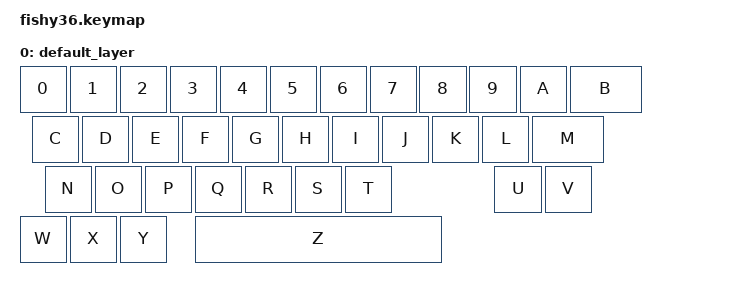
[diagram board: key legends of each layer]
// TEMPORARY DEBUG KEYMAP — NOT for daily use.
// Each of the 36 positions types a unique character (0-9, then A-Z)
// so you can identify exactly which logical position fires per physical key.
// Position -> char: 0=0,1=1,...,9=9,10=A,11=B,...,35=Z (base36 order)
#include <behaviors.dtsi>
#include <dt-bindings/zmk/keys.h>

/ {
    keymap {
        compatible = "zmk,keymap";

        default_layer {
            bindings = <
                &kp N0 &kp N1 &kp N2 &kp N3 &kp N4 &kp N5 &kp N6 &kp N7 &kp N8 &kp N9 &kp A  &kp B
                &kp C  &kp D  &kp E  &kp F  &kp G  &kp H  &kp I  &kp J  &kp K  &kp L  &kp M
                &kp N  &kp O  &kp P  &kp Q  &kp R  &kp S  &kp T  &kp U  &kp V
                &kp W  &kp X  &kp Y  &kp Z
            >;
        };
    };
};

